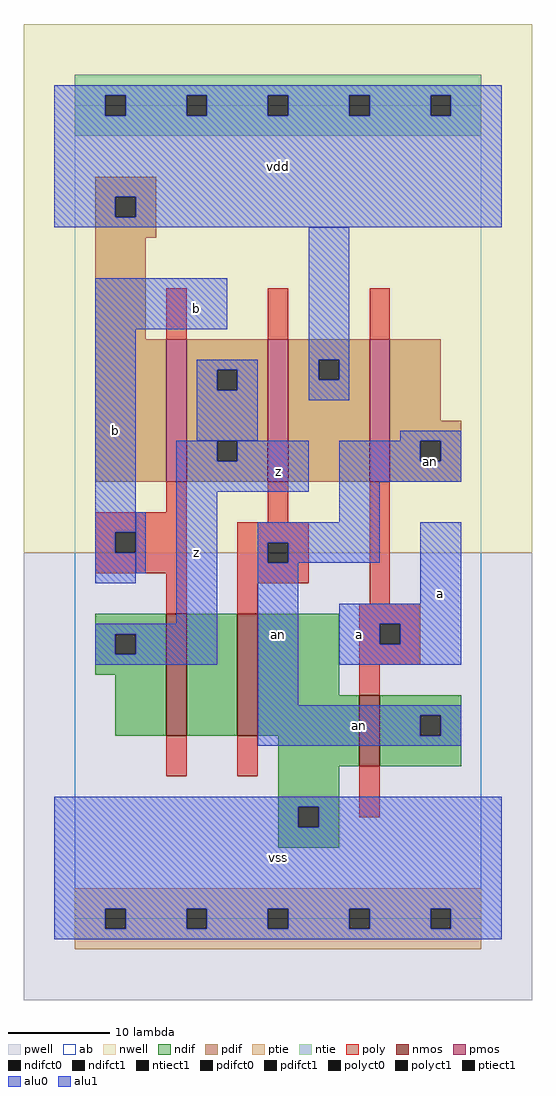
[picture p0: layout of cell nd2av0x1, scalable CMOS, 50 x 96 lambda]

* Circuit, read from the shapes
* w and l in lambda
.subckt nd2av0x1 a an b vdd vss z
M1 n1 b z vss nfet w=12 l=2
M2 vss an n1 vss nfet w=12 l=2
M3 an a vss vss nfet w=7 l=2
M4 z b vdd vdd pfet w=14 l=2
M5 vdd an z vdd pfet w=14 l=2
M6 an a vdd vdd pfet w=14 l=2
.ends

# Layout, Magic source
magic
tech scmos
<< ab >>
rect 0 0 40 80
<< nwell >>
rect -5 36 45 88
<< pwell >>
rect -5 -8 45 36
<< poly >>
rect 9 57 11 62
rect 19 57 21 62
rect 29 57 31 62
rect 9 40 11 43
rect 2 38 11 40
rect 19 39 21 43
rect 2 36 4 38
rect 6 36 11 38
rect 2 34 11 36
rect 9 30 11 34
rect 16 37 23 39
rect 16 35 19 37
rect 21 35 23 37
rect 16 33 23 35
rect 16 30 18 33
rect 29 31 31 43
rect 28 29 34 31
rect 28 27 30 29
rect 32 27 34 29
rect 28 25 34 27
rect 28 22 30 25
rect 9 14 11 18
rect 16 14 18 18
rect 28 10 30 15
<< ndif >>
rect 2 28 9 30
rect 2 26 4 28
rect 6 26 9 28
rect 2 24 9 26
rect 4 18 9 24
rect 11 18 16 30
rect 18 22 26 30
rect 18 18 28 22
rect 20 15 28 18
rect 30 20 38 22
rect 30 18 34 20
rect 36 18 38 20
rect 30 15 38 18
rect 20 11 26 15
rect 20 9 22 11
rect 24 9 26 11
rect 20 7 26 9
<< pdif >>
rect 2 71 8 73
rect 2 69 4 71
rect 6 69 8 71
rect 2 67 8 69
rect 2 57 7 67
rect 2 43 9 57
rect 11 54 19 57
rect 11 52 14 54
rect 16 52 19 54
rect 11 47 19 52
rect 11 45 14 47
rect 16 45 19 47
rect 11 43 19 45
rect 21 55 29 57
rect 21 53 24 55
rect 26 53 29 55
rect 21 43 29 53
rect 31 49 36 57
rect 31 47 38 49
rect 31 45 34 47
rect 36 45 38 47
rect 31 43 38 45
<< alu1 >>
rect -2 81 42 82
rect -2 79 3 81
rect 5 79 11 81
rect 13 79 19 81
rect 21 79 27 81
rect 29 79 35 81
rect 37 79 42 81
rect -2 71 42 79
rect -2 69 4 71
rect 6 69 42 71
rect -2 68 42 69
rect 2 58 15 63
rect 2 38 6 58
rect 10 45 14 47
rect 16 45 23 47
rect 10 42 23 45
rect 2 36 4 38
rect 2 33 6 36
rect 10 29 14 42
rect 2 28 14 29
rect 2 26 4 28
rect 6 26 14 28
rect 2 25 14 26
rect 34 31 38 39
rect 26 29 38 31
rect 26 27 30 29
rect 32 27 38 29
rect 26 25 38 27
rect -2 11 42 12
rect -2 9 22 11
rect 24 9 42 11
rect -2 1 42 9
rect -2 -1 3 1
rect 5 -1 11 1
rect 13 -1 19 1
rect 21 -1 27 1
rect 29 -1 35 1
rect 37 -1 42 1
rect -2 -2 42 -1
<< ptie >>
rect 0 1 40 3
rect 0 -1 3 1
rect 5 -1 11 1
rect 13 -1 19 1
rect 21 -1 27 1
rect 29 -1 35 1
rect 37 -1 40 1
rect 0 -3 40 -1
<< ntie >>
rect 0 81 40 83
rect 0 79 3 81
rect 5 79 11 81
rect 13 79 19 81
rect 21 79 27 81
rect 29 79 35 81
rect 37 79 40 81
rect 0 77 40 79
<< nmos >>
rect 9 18 11 30
rect 16 18 18 30
rect 28 15 30 22
<< pmos >>
rect 9 43 11 57
rect 19 43 21 57
rect 29 43 31 57
<< polyct0 >>
rect 19 35 21 37
<< polyct1 >>
rect 4 36 6 38
rect 30 27 32 29
<< ndifct0 >>
rect 34 18 36 20
<< ndifct1 >>
rect 4 26 6 28
rect 22 9 24 11
<< ntiect1 >>
rect 3 79 5 81
rect 11 79 13 81
rect 19 79 21 81
rect 27 79 29 81
rect 35 79 37 81
<< ptiect1 >>
rect 3 -1 5 1
rect 11 -1 13 1
rect 19 -1 21 1
rect 27 -1 29 1
rect 35 -1 37 1
<< pdifct0 >>
rect 14 52 16 54
rect 24 53 26 55
rect 34 45 36 47
<< pdifct1 >>
rect 4 69 6 71
rect 14 45 16 47
<< alu0 >>
rect 23 55 27 68
rect 12 54 18 55
rect 12 52 14 54
rect 16 52 18 54
rect 12 47 18 52
rect 23 53 24 55
rect 26 53 27 55
rect 23 51 27 53
rect 32 47 38 48
rect 26 45 34 47
rect 36 45 38 47
rect 26 43 38 45
rect 6 34 7 40
rect 26 39 30 43
rect 18 37 30 39
rect 18 35 19 37
rect 21 35 30 37
rect 18 21 22 35
rect 18 20 38 21
rect 18 18 34 20
rect 36 18 38 20
rect 18 17 38 18
<< labels >>
rlabel alu0 20 28 20 28 6 an
rlabel alu0 28 19 28 19 6 an
rlabel alu0 35 45 35 45 6 an
rlabel alu1 4 48 4 48 6 b
rlabel alu1 12 36 12 36 6 z
rlabel alu1 12 60 12 60 6 b
rlabel alu1 20 6 20 6 6 vss
rlabel alu1 28 28 28 28 6 a
rlabel alu1 20 44 20 44 6 z
rlabel alu1 20 74 20 74 6 vdd
rlabel alu1 36 32 36 32 6 a
<< end >>
